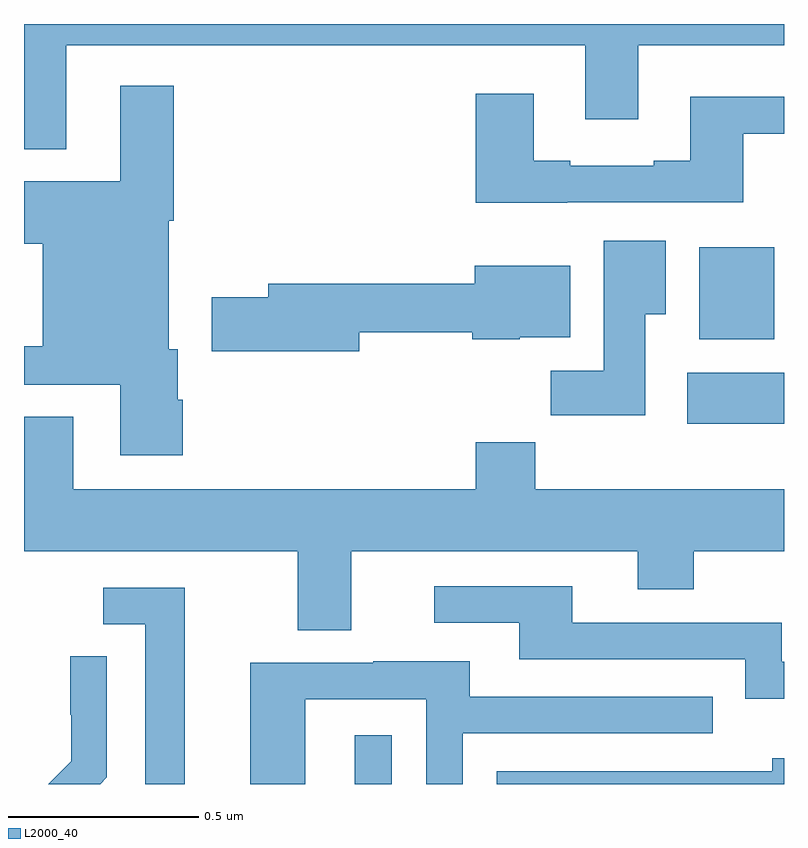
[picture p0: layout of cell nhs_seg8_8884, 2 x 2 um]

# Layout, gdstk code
import gdstk
lib = gdstk.Library(unit=1e-6, precision=1e-09)
def R(c, l, rs):  # rectangles x0, y0, x1, y1
    for r in rs: c.add(gdstk.rectangle(r[:2], r[2:], *l))
def P(c, l, *ps):  # polygons
    for p in ps: c.add(gdstk.Polygon(p, *l))
L2000_40 = (2000, 40)

nhs_seg8_8884 = lib.new_cell('nhs_seg8_8884')
R(nhs_seg8_8884, L2000_40, [(229.871,1103.9,229.968,1104.028), (230.745,1104.848,231,1104.982), (230.777,1105.07,230.974,1105.312)])
P(nhs_seg8_8884, L2000_40, [(229.111,1105.844),(230.477,1105.844),(230.477,1105.65),(230.617,1105.65),(230.617,1105.844),(231,1105.844),(231,1105.9),(229,1105.9),(229,1105.571),(229.111,1105.571)],
  [(229.418,1104.911),(229.405,1104.911),(229.405,1105.044),(229.381,1105.044),(229.381,1105.382),(229.394,1105.382),(229.394,1105.738),(229.253,1105.738),(229.253,1105.486),(229,1105.486),(229,1105.322),(229.049,1105.322),(229.049,1105.052),(229,1105.052),(229,1104.951),(229.253,1104.951),(229.253,1104.765),(229.418,1104.765)],
  [(230.429,1105.431),(230.893,1105.431),(230.893,1105.611),(231,1105.611),(231,1105.708),(230.753,1105.708),(230.753,1105.54),(230.657,1105.54),(230.657,1105.527),(230.437,1105.527),(230.437,1105.54),(230.341,1105.54),(230.341,1105.717),(230.189,1105.717),(230.189,1105.43),(230.429,1105.43)],
  [(230.635,1105.136),(230.689,1105.136),(230.689,1105.33),(230.525,1105.33),(230.525,1104.988),(230.386,1104.988),(230.386,1104.87),(230.635,1104.87)],
  [(229.882,1105.089),(230.179,1105.089),(230.179,1105.07),(230.304,1105.07),(230.304,1105.076),(230.437,1105.076),(230.437,1105.264),(230.186,1105.264),(230.186,1105.217),(229.643,1105.217),(229.643,1105.181),(229.494,1105.181),(229.494,1105.039),(229.882,1105.039)],
  [(229.861,1104.512),(230.615,1104.512),(230.615,1104.413),(230.763,1104.413),(230.763,1104.512),(231,1104.512),(231,1104.676),(230.345,1104.676),(230.345,1104.8),(230.189,1104.8),(230.189,1104.676),(229.129,1104.676),(229.129,1104.866),(229,1104.866),(229,1104.512),(229.721,1104.512),(229.721,1104.304),(229.861,1104.304)],
  [(231,1104.222),(230.994,1104.222),(230.994,1104.324),(230.443,1104.324),(230.443,1104.42),(230.079,1104.42),(230.079,1104.324),(230.303,1104.324),(230.303,1104.228),(230.898,1104.228),(230.898,1104.125),(231,1104.125)],
  [(229.423,1104.417),(229.209,1104.417),(229.209,1104.321),(229.319,1104.321),(229.319,1103.9),(229.423,1103.9)],
  [(229.218,1103.918),(229.218,1104.236),(229.122,1104.236),(229.122,1104.082),(229.124,1104.082),(229.124,1103.96),(229.064,1103.9),(229.2,1103.9)],
  [(229.74,1104.123),(230.058,1104.123),(230.058,1103.9),(230.154,1103.9),(230.154,1104.033),(230.813,1104.033),(230.813,1104.129),(230.173,1104.129),(230.173,1104.223),(229.919,1104.223),(229.919,1104.219),(229.595,1104.219),(229.595,1103.9),(229.74,1103.9)],
  [(231,1103.968),(230.969,1103.968),(230.969,1103.934),(230.244,1103.934),(230.244,1103.9),(231,1103.9)])

lib.write_gds('nhs_seg8_8884.gds')
